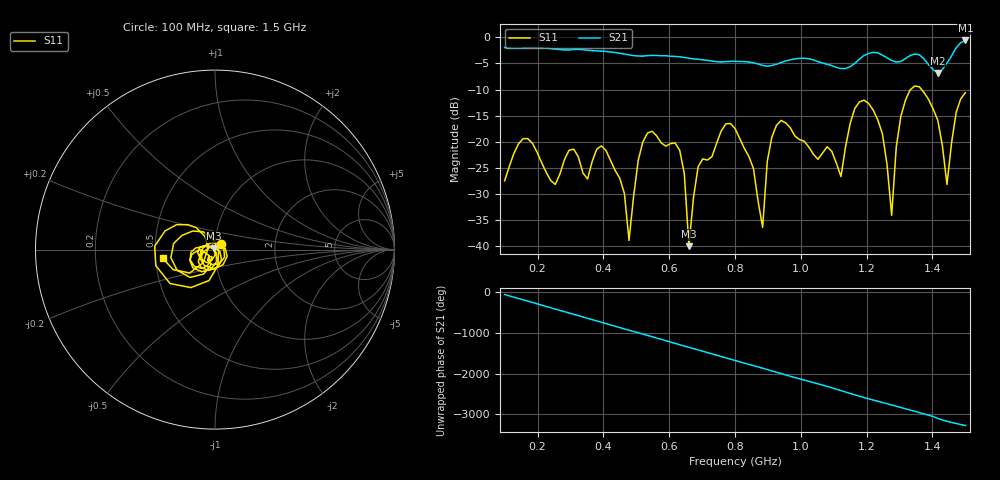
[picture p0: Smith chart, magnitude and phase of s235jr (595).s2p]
! NanoVNA-App
! Date: 2025-09-25 15:08:48
! Start: 100MHz Stop: 1,5GHz Points: 101
! S-Parameter data: F S11 S21 S12 S22
# Hz S RI R 50
!  Frequency  S11_Real  S11_Imag  S21_Real  S21_Imag  S12_Real  S12_Imag  S22_Real  S22_Imag
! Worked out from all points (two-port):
!   101 points, 100 MHz to 1.5 GHz, reference 50 ohm
!   highest |S21| = -0.61 dB at 1.5 GHz (marker M1); lowest = -6.8 dB at 1.416 GHz (marker M2)
!   |S21| within 3 dB of the highest: start of sweep to 602.2 MHz; 1.189 GHz to 1.253 GHz (63.67 MHz wide, 5.21 % of centre)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
!   lowest |S11| = -40.0 dB at 660 MHz (marker M3), VSWR 1.02, Z = 49.2 + j0.65 ohm
!   |S11| at or under -10 dB: start of sweep to 1.333 GHz; 1.367 GHz to end of sweep
!   S12 and S22 are empty: the file has one direction only
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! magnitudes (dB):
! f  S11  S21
! 100 MHz  -27.5  -2.0
! 156 MHz  -19.4  -2.0
! 338 MHz  -26.0  -2.4
! 408 MHz  -21.7  -2.7
! 478 MHz  -38.9  -3.4
! 520 MHz  -20.0  -3.6
! 576 MHz  -20.2  -3.5
! 632 MHz  -21.6  -3.7
! 660 MHz  -40.0  -4.0
! 688 MHz  -24.8  -4.2
! 800 MHz  -17.4  -4.6
! 884 MHz  -36.4  -5.4
! 926 MHz  -16.8  -5.2
! 1.038 GHz  -22.4  -4.3
! 1.122 GHz  -26.6  -6.0
! 1.206 GHz  -12.7  -3.1
! 1.276 GHz  -34.1  -4.4
! 1.29 GHz  -21.0  -4.7
! 1.332 GHz  -10.1  -3.5
! 1.416 GHz  -15.8  -6.8
! 1.444 GHz  -28.2  -4.9
! 1.5 GHz  -10.6  -0.6
